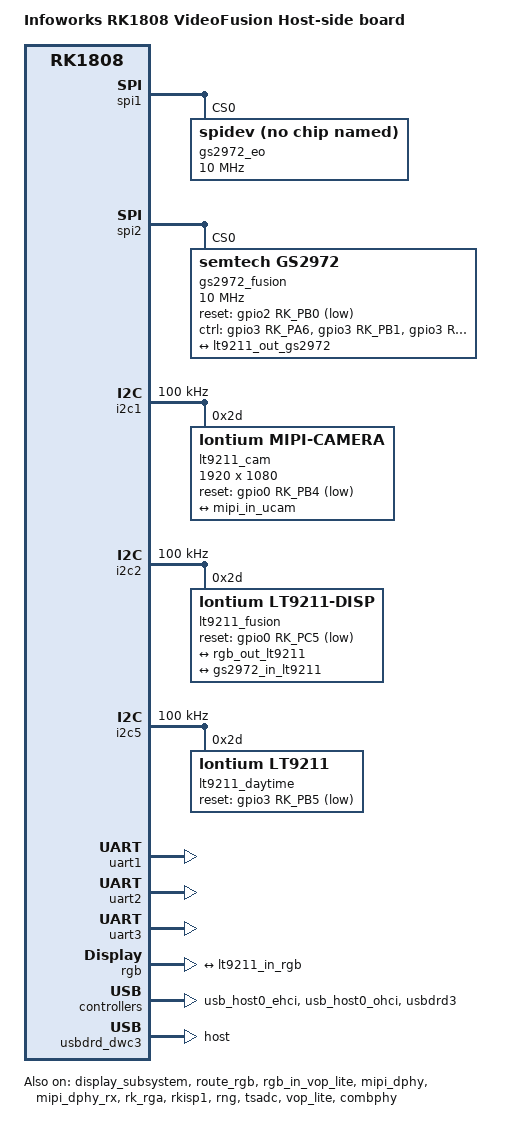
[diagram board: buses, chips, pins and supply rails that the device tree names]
// SPDX-License-Identifier: (GPL-2.0+ OR MIT)
/*
 * Copyright (c) 2018 Fuzhou Rockchip Electronics Co., Ltd
 */

/dts-v1/;
#include <dt-bindings/display/drm_mipi_dsi.h>
#include "rk1808-evb.dtsi"

/ {
	model = "Infoworks RK1808 VideoFusion Host-side board";
	compatible = "rockchip,rk1808-evb-v10", "rockchip,rk1808";

	chosen {
		bootargs = "earlycon=uart8250,mmio32,0xff430000 console=ttyFIQ0 root=PARTUUID=614e0000-0000 rootfstype=ext4 rootwait swiotlb=1 kpti=0 snd_aloop.index=7";
	};

	fiq-debugger {
		status = "okay";
		rockchip,serial-id = <0>;
		rockchip,irq-mode-enable = <1>;
		pinctrl-names = "default";
		pinctrl-0 = <&uart0_xfer>;
	};

	vad-sound {
		status = "disabled";
		compatible = "rockchip,multicodecs-card";
		rockchip,card-name = "rockchip,rk1808-vad";
		rockchip,cpu = <&pdm>;
		rockchip,codec = <&vad>;
	};
};

&threshold {
	temperature = <115000>;
};

&target {
	temperature = <115000>;
};

&soc_crit {
	temperature = <115000>;
};

/*
	Peripherals 

	+-------------------------------------------------+
	|    Bus   |     Device    |  GPIO / Description  |
	+----------+---------------+----------------------+
	| SPI1_M0  |  GS2972(DAY)  | GPIO4_B3(TIM_861)    |
	|   CSN0   |               | GPIO2_B6(RATE_SEL0)  |
	|          |               | GPIO2_B7(RATE_SEL1)  |
	|          |               | GPIO0_C7(SEL_BUS)    |
	|          |               | GPIO4_C0(DETECT_TRS) |
	|          |               | GPIO2_B6(ANC_BLANK)  |
	|          |               | GPIO4_C4(RESET)      |
	|          |               | GPIO4_C3(LOCKED)     |
	+----------+---------------+----------------------+
	| SPI2_M1  |  GS2972(IR)   | GPIO3_A6(TIM_861)    |
	|          |               | GPIO3_B1(RATE_SEL0)  |
	|          |               | GPIO3_B2(RATE_SEL1)  |
	|          |               | GPIO3_B4(SEL_BUS)    |
	|          |               | GPIO3_C1(DETECT_TRS) |
	|          |               | GPIO3_A0(ANC_BLANK)  |
	|          |               | GPIO2_B0(RESET)      |
	|          |               | GPIO2_B1(LOCKED)     |
	+----------+---------------+----------------------+
	|   I2C1   |  LT9211(CAM)  | GPIO0_B4(RESET)      |
	+----------+---------------+----------------------+
	| I2C2_M1  |  LT9211(Fus)  | GPIO0_C5(RESET)      |
	+----------+---------------+----------------------+
	|   I2C5   |  LT9211(Eo)   | GPIO3_B5(RESET)      |
	+----------+---------------+----------------------+
	| UART1_M0 | RK1808 Device | Device B'd UART1     |
	+----------+---------------+----------------------+
	| UART2_M2 |   IR RS232    | 38400bps             |
	+----------+---------------+----------------------+
	|  UART3   |   V536 UART   |                      |
	+----------+---------------+----------------------+

*/
/* GS2972 Daytime 3G-SDI Output*/
&spi1 {
	status = "okay";
	dma-names = "tx", "rx";
	max-freq = <10000000>;

	pinctrl-names = "default", "high_speed";
	pinctrl-0 = <&spi1_clk &spi1_csn0 &spi1_miso &spi1_mosi>;
	pinctrl-1 = <&spi1_clk_hs &spi1_csn0 &spi1_miso_hs &spi1_mosi_hs>;

	gs2972_eo@04 {
		compatible = "rockchip,spidev";
		id = <0>;	// id
		reg = <0>;	// cs0
		spi-max-frequency = <10000000>;
		status = "okay";
	};
};

/* GS2972 Fusion 3G-SDI Output*/
&spi2 {
	status = "okay";
	dma-names = "tx", "rx";
	max-freq = <10000000>;

	pinctrl-names = "default", "high_speed";
	pinctrl-0 = <&spi2m1_clk &spi2m1_csn &spi2m1_miso &spi2m1_mosi>;
	pinctrl-1 = <&spi2m1_clk_hs &spi2m1_csn &spi2m1_miso_hs &spi2m1_mosi_hs>;

	gs2972_fusion@0 {
		status = "okay";
		compatible = "semtech,gs2972";

		id = <1>;
		reg = <0>; // cs0
		spi-max-frequency = <10000000>;

		panel-width-mm = <100>;
		panel-height-mm = <154>;

		reset-gpios = <&gpio2 RK_PB0 GPIO_ACTIVE_LOW>;

		/* [0] TIM_861  [1] RATE_SEL0  [2] RATE_SEL1
			[3] SEL_BUS  [4] DETECT_TRS [5] ANC_BLANK */

		ctrl-gpios = <&gpio3 RK_PA6 GPIO_ACTIVE_HIGH>,		/* TIM_861 */
							<&gpio3 RK_PB1 GPIO_ACTIVE_HIGH>,	/* RATE_SEL0 */
							<&gpio3 RK_PB2 GPIO_ACTIVE_HIGH>,	/* RATE_SEL1 */
							<&gpio3 RK_PB4 GPIO_ACTIVE_HIGH>,	/* SEL_BUS */
							<&gpio3 RK_PC1 GPIO_ACTIVE_HIGH>,	/* DETECT_TRS */
							<&gpio3 RK_PA0 GPIO_ACTIVE_HIGH>;	/* ANC_BLANK */

		bus-format = <MEDIA_BUS_FMT_RGB666_1X18>;

		display-timings {
			timing {
				clock-frequency = <74250000>;
				hactive = <1920>;
				vactive = <1080>;
				hback-porch = <148>;
				hfront-porch = <88>;
				vback-porch = <36>;
				vfront-porch = <4>;
				hsync-len = <44>;
				vsync-len = <5>;
				hsync-active = <1>;
				vsync-active = <1>;
				de-active = <1>;
				pixelclk-active = <1>;
			};
		};

		port {
			gs2972_in_lt9211: endpoint {
				remote-endpoint = <&lt9211_out_gs2972>;
			};
		};
	};
};

/* LT9211 RGB to MIPI-CSI as camera */
&i2c1 {
	status = "okay";
	clock-frequency = <100000>;

	lt9211_cam: lt9211@2d {
		status = "okay";
		compatible = "lontium,mipi-camera";
		reg = <0x2d>;
      width = <1920>;
      height = <1080>;
      bus-format = <MEDIA_BUS_FMT_UYVY8_2X8>;
      reset-gpios = <&gpio0 RK_PB4 GPIO_ACTIVE_LOW>;

      rockchip,camera-module-index = <0>;
      rockchip,camera-module-facing = "back";
      rockchip,camera-module-name = "TongJu";
      rockchip,camera-module-lens-name = "CHT842-MD";

		port {
			ucam_out: endpoint {
				remote-endpoint = <&mipi_in_ucam>;
				link-frequencies = /bits/ 64 <400000000>;
				data-lanes = <1 2 3 4>;
			};
		};
	};
};

/* LT9211(Fusion Output) */
&i2c2 {
	status = "okay";
	clock-frequency = <100000>;
	pinctrl-0 = <&i2c2m1_xfer>;

	lt9211_fusion: lt9211@2d {
		status = "okay";
		compatible = "lontium,lt9211-disp";
		reg = <0x2d>;
		reset-gpios = <&gpio0 RK_PC5 GPIO_ACTIVE_LOW>;

		ports {
			#address-cells = <1>;
			#size-cells = <0>;

			port@0 {
				reg = <0>;

				lt9211_in_rgb: endpoint {
					remote-endpoint = <&rgb_out_lt9211>;
				};
			};

			port@1 {
				reg = <1>;

				lt9211_out_gs2972: endpoint {
					remote-endpoint = <&gs2972_in_lt9211>;
				};
			};
		};
	};
};

&i2c3 {
	status = "disabled";
};

&i2c4 {
	status = "disabled";
};

/* LT9211(Daytime) */
&i2c5 {
	status = "okay";
	clock-frequency = <100000>;

	lt9211_daytime: lt9211@2d {
		status = "okay";
		compatible = "lontium,lt9211";
		reg = <0x2d>;
		reset-gpios = <&gpio3 RK_PB5 GPIO_ACTIVE_LOW>;
	};
};

/* RK1808 Device-side communication */
&uart1 {
	status = "okay";
	dma-names = "tx", "rx";
	pinctrl-0 = <&uart1m0_xfer>;
};

/* ICD <-> RK1808 Communication */
&uart2 {
	status = "okay";
	dma-names = "tx", "rx";
	pinctrl-0 = <&uart2m1_xfer>;
};

/* V536 Communication */
&uart3 {
	status = "okay";
	dma-names = "tx", "rx";
	pinctrl-0 = <&uart3m0_xfer>;
};

/* SPI1 Muxing */
&uart4 {
	status = "disabled";
};

&wireless_bluetooth {
	status = "disabled";
};

&pwm1 {
	status = "disabled";
};

&sdio {
	status = "disabled";
};

&sdmmc {
	status  = "disabled";
};

&saradc {
	status = "disabled";
};

/* Display Setting (RGB Output) */
&display_subsystem {
	status = "okay";
};

&route_rgb {
	status = "okay";
};

&rgb_in_vop_lite {
	status = "okay";
};

&rgb {
	status = "okay";

	pinctrl-names = "default";
	pinctrl-0 = <&lcdc_rgb_dclk_pin &lcdc_rgb_den_pin
						&lcdc_rgb_m0_hsync_pin &lcdc_rgb_m0_vsync_pin 
						&lcdc_rgb666_data_pins>;

	ports {
		port@1 {
			reg = <1>;

			rgb_out_lt9211: endpoint {
				remote-endpoint = <&lt9211_in_rgb>;
			};
		};
	};
};

&adc_key {
	status = "disabled";
};

&pdm {
	status = "disabled";
};

&i2s0 {
	status = "disabled";
};

&i2s1 {
	status = "disabled";
};

&isp_mmu {
	status = "okay";
};

&mipi_dphy {
	status = "okay";
};

&mipi_dphy_rx {
	status = "okay";

	ports {
		#address-cells = <1>;
		#size-cells = <0>;

		port@0 {
			reg = <0>;
			#address-cells = <1>;
			#size-cells = <0>;

			mipi_in_ucam: endpoint@1 {
				reg = <1>;
				remote-endpoint = <&ucam_out>;
				data-lanes = <1 2 3 4>;
			};

		};

		port@1 {
			reg = <1>;
			#address-cells = <1>;
			#size-cells = <0>;

			dphy_rx0_out: endpoint@0 {
				reg = <0>;
				remote-endpoint = <&isp0_mipi_in>;
				data-lanes = <1 2 3 4>;
			};
		};
	};
};

&rk_rga {
	status =  "okay";
};

&rk809_sound {
	status = "disabled";
};

&rk809_codec {
	status = "disabled";
};

&rk809 {
	/delete-property/ pwrkey;
};

&vcc1v8_dvp {
	/delete-property/ regulator-always-on;
	/delete-property/ regulator-boot-on;
};

&vdd1v5_dvp {
	/delete-property/ regulator-always-on;
	/delete-property/ regulator-boot-on;
};

&vcc2v8_dvp {
	/delete-property/ regulator-always-on;
	/delete-property/ regulator-boot-on;
};

&vccio_sd {
	/delete-property/ regulator-always-on;
	/delete-property/ regulator-boot-on;
};

&vcc3v3_sd {
	/delete-property/ regulator-always-on;
	/delete-property/ regulator-boot-on;
};

&vcc5v0_host {
	/delete-property/ regulator-always-on;
	/delete-property/ regulator-boot-on;
};

&rkisp1 {
	status = "okay";

	port {
		#address-cells = <1>;
		#size-cells = <0>;

		isp0_mipi_in: endpoint@0 {
			reg = <0>;
			remote-endpoint = <&dphy_rx0_out>;
		};
	};
};

&rng {
	status = "okay";
};

&tsadc {
	rockchip,hw-tshut-mode = <1>; /* tshut mode 0:CRU 1:GPIO */
	rockchip,hw-tshut-polarity = <0>; /* tshut polarity 0:LOW 1:HIGH */
	pinctrl-names = "gpio", "otpout";
	pinctrl-0 = <&tsadc_otp_gpio>;
	pinctrl-1 = <&tsadc_otp_out>;
	status = "okay";
};

&vad {
	status = "disabled";
	rockchip,audio-src = <&pdm>;
	rockchip,buffer-time-ms = <200>;
	rockchip,det-channel = <0>;
	rockchip,mode = <1>;
	#sound-dai-cells = <0>;
};

&vop_lite {
	status = "okay";
};

&vopl_mmu {
	status = "okay";
};

&vpu_mmu {
	status = "disabled";
};

&vpu_service {
	status = "disabled";
};


/* 2019.08.13. JSPARK Add*/

&combphy {
	status = "okay";
};

&usb_host0_ehci {
        status = "okay";
};

&usb_host0_ohci {
        status = "okay";
};

&pcie0 {
	status = "disabled";
};

&usbdrd3 {
	status = "okay";
};

&usbdrd_dwc3{
	status = "okay";
	dr_mode = "host";
};
